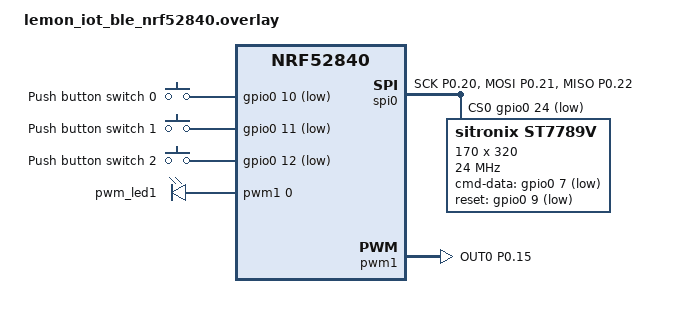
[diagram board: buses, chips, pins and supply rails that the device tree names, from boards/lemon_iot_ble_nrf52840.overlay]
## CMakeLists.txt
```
# SPDX-License-Identifier: Apache-2.0

cmake_minimum_required(VERSION 3.20.0)

find_package(Zephyr REQUIRED HINTS $ENV{ZEPHYR_BASE})
project(LVGL_Lemon_IoT)

FILE(GLOB app_sources src/*.c)
target_sources(app PRIVATE ${app_sources})
```

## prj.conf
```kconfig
# System config
CONFIG_LOG=y
CONFIG_PRINTK=y
CONFIG_PWM=y
CONFIG_PWM_LOG_LEVEL_DBG=n
CONFIG_BOOTLOADER_MCUBOOT=y
CONFIG_MAIN_STACK_SIZE=2048

# Hardware config
CONFIG_GPIO=y
CONFIG_SPI=y
CONFIG_SPI_NRFX=y
CONFIG_SPI_NRFX_RAM_BUFFER_SIZE=32

# Display config
CONFIG_ST7789V=y
CONFIG_ST7789V_RGB565=y
CONFIG_DISPLAY=y
CONFIG_DISPLAY_LOG_LEVEL_ERR=y

# LVGL config
CONFIG_LVGL=y
CONFIG_LV_Z_MEM_POOL_NUMBER_BLOCKS=8
CONFIG_LV_MEM_CUSTOM=y
CONFIG_LV_USE_LOG=y
CONFIG_LV_USE_LABEL=y
CONFIG_LV_USE_BTN=y
CONFIG_LV_USE_IMG=y
CONFIG_LV_FONT_MONTSERRAT_14=y
```

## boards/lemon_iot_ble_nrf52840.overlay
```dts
// To get started, press Ctrl+Space to bring up the completion menu and view the available nodes.

// You can also use the buttons in the sidebar to perform actions on nodes.
// Actions currently available include:

// * Enabling / disabling the node
// * Adding the bus to a bus
// * Removing the node
// * Connecting ADC channels

// For more help, browse the DeviceTree documentation at https://docs.zephyrproject.org/latest/guides/dts/index.html
// You can also visit the nRF DeviceTree extension documentation at https://nrfconnect.github.io/vscode-nrf-connect/devicetree/nrfdevicetree.html

/ {
	chosen {
		zephyr,display = &st7789v;
	};

    buttons {
        compatible = "gpio-keys";
        lcd_button0: button_0 {
            gpios = <&gpio0 10 (GPIO_PULL_UP | GPIO_ACTIVE_LOW)>;
            label = "Push button switch 0";
        };
        lcd_button1: button_1 {
            gpios = <&gpio0 11 (GPIO_PULL_UP | GPIO_ACTIVE_LOW)>;
            label = "Push button switch 1";
        };
        lcd_button2: button_2 {
            gpios = <&gpio0 12 (GPIO_PULL_UP | GPIO_ACTIVE_LOW)>;
            label = "Push button switch 2";
        };        
    };

	pwmleds {
		compatible = "pwm-leds";
		pwm_led1: pwm_led_1 {
			pwms = <&pwm1 0 PWM_MSEC(20) PWM_POLARITY_NORMAL>;
		};
	};

    aliases {
		sw0 = &lcd_button0;
		sw1 = &lcd_button1;
		sw2 = &lcd_button2;
		pwm-led1 = &pwm_led1;
	};
};

&spi0 {
	compatible = "nordic,nrf-spim";
	status = "okay";
	cs-gpios = <&gpio0 24 GPIO_ACTIVE_LOW>;  /* D6 SD */

	pinctrl-0 = <&spi0_default>;
	pinctrl-1 = <&spi0_sleep>;
	pinctrl-names = "default", "sleep";


    st7789v: st7789v@0 {
		compatible = "sitronix,st7789v";
		label = "ST7789V";
		spi-max-frequency = <24000000>;
		reg = <0>;
		cmd-data-gpios = <&gpio0 7 GPIO_ACTIVE_LOW>;	/* D9 */
		reset-gpios = <&gpio0 9 GPIO_ACTIVE_LOW>;	/* D10 */
		width = <170>; // 170 for 90 degree, 320 for 0 degree
		height = <320>; // 320 for 90 degree, 170 for 0 degree
		x-offset = <35>; // 35 for 90 degree, 0 for 0 degree
		y-offset = <0>; // 0 for 90 degree, 35 for 0 degree
		vcom = <0x2b>;
		gctrl = <0x35>;
		vrhs = <0x0f>;
		vdvs = <0x20>;
		mdac = <0xC0>; // 0x00 for 90 degree, 0x60 for 0 degree
		gamma = <0x01>;
		colmod = <0x55>;
		lcm = <0x2c>;
		porch-param = [0c 0c 00 33 33];
		cmd2en-param = [5a 69 02 01];
		pwctrl1-param = [52 a1];
		pvgam-param = [D0 00 02 07 0B 1A 31 54 40 29 12 12 12 17];
		nvgam-param = [D0 00 02 07 05 15 2D 44 44 1C 18 16 1C 1D];
		ram-param = [00 F8];
		rgb-param = [CD 08 14];
	};
};

&pwm1 {
	status = "okay";
	pinctrl-0 = <&pwm1_default>;
	pinctrl-1 = <&pwm1_sleep>;
	pinctrl-names = "default", "sleep";
};

&pinctrl {   

	pwm1_default: pwm1_default {
		group1 {
			psels = <NRF_PSEL(PWM_OUT0, 0, 15)>;
		};
	};

	pwm1_sleep: pwm1_sleep {
		group1 {
			psels = <NRF_PSEL(PWM_OUT0, 0, 15)>;
		};
	};

	spi0_default: spi0_default {
		group1 {
			psels = <NRF_PSEL(SPIM_SCK, 0, 20)>,
				<NRF_PSEL(SPIM_MOSI, 0, 21)>,
				<NRF_PSEL(SPIM_MISO, 0, 22)>;
		};
	};

	spi0_sleep: spi0_sleep {
		group1 {
			psels = <NRF_PSEL(SPIM_SCK, 0, 20)>,
				<NRF_PSEL(SPIM_MOSI, 0, 21)>,
				<NRF_PSEL(SPIM_MISO, 0, 22)>;
			low-power-enable;
		};
	};
};
```

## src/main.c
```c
/*
 * Copyright (c) 2023 Tai Jie Denny Yun <denny61302@gmail.com>
 * Copyright (c) 2023 Aaron Mohtar & Co Pty Ltd
 * Copyright (c) 2023 Craig Peacock
 * Copyright (c) 2018 Jan Van Winkel <jan.van_winkel@dxplore.eu>
 *
 * SPDX-License-Identifier: Apache-2.0
 */

#include <zephyr/device.h>
#include <zephyr/devicetree.h>
#include <zephyr/drivers/display.h>
#include <zephyr/drivers/gpio.h>
#include <zephyr/drivers/pwm.h>
#include <lvgl.h>
#include <stdio.h>
#include <string.h>
#include <zephyr/kernel.h>

#define LOG_LEVEL CONFIG_LOG_DEFAULT_LEVEL
#include <zephyr/logging/log.h>
LOG_MODULE_REGISTER(app);

static uint32_t count;

static const int pwm_fequency = 500; // in Hz
static float input_period = (float)(1.0 / pwm_fequency) * 1000000000.0;
static int pwm_duty_cycle = 80; // in percentage

static const struct pwm_dt_spec pwm_lcd_backlight = PWM_DT_SPEC_GET(DT_ALIAS(pwm_led1));

#ifdef CONFIG_GPIO
static struct gpio_dt_spec button_gpio = GPIO_DT_SPEC_GET_OR(
		DT_ALIAS(sw1), gpios, {0});
static struct gpio_callback button_callback;

static void button_isr_callback(const struct device *port,
				struct gpio_callback *cb,
				uint32_t pins)
{
	ARG_UNUSED(port);
	ARG_UNUSED(cb);
	ARG_UNUSED(pins);

	count = 0;
}
#endif

void main(void)
{
	int err;
	char count_str[11] = {0};
	const struct device *display_dev;
	lv_obj_t *hello_world_label;
	lv_obj_t *count_label;

	if (!device_is_ready(pwm_lcd_backlight.dev)) {
		printk("Error: PWM device %s is not ready\n", pwm_lcd_backlight.dev->name);
		return;
	}	
	
    pwm_set_dt(&pwm_lcd_backlight, input_period, input_period*pwm_duty_cycle/100); 

	display_dev = DEVICE_DT_GET(DT_CHOSEN(zephyr_display));
	if (!device_is_ready(display_dev)) {
		LOG_ERR("Device not ready, aborting test");
		return;
	}

	if (device_is_ready(button_gpio.port)) {
		err = gpio_pin_configure_dt(&button_gpio, GPIO_INPUT);
		if (err) {
			LOG_ERR("failed to configure button gpio: %d", err);
			return;
		}

		gpio_init_callback(&button_callback, button_isr_callback,
				   BIT(button_gpio.pin));

		err = gpio_add_callback(button_gpio.port, &button_callback);
		if (err) {
			LOG_ERR("failed to add button callback: %d", err);
			return;
		}

		err = gpio_pin_interrupt_configure_dt(&button_gpio,
						      GPIO_INT_EDGE_TO_ACTIVE);
		if (err) {
			LOG_ERR("failed to enable button callback: %d", err);
			return;
		}
	}

	lv_disp_t * dispp = lv_disp_get_default();
    lv_theme_t * theme = lv_theme_default_init(dispp, lv_palette_main(LV_PALETTE_BLUE), lv_palette_main(LV_PALETTE_RED),
                                               true, LV_FONT_DEFAULT);
    lv_disp_set_theme(dispp, theme);
	
	hello_world_label = lv_label_create(lv_scr_act());
	
	lv_label_set_text(hello_world_label, "Hello world!\nWelcome to Lemon IoT");
	lv_obj_align(hello_world_label, LV_ALIGN_CENTER, 0, 0);

	count_label = lv_label_create(lv_scr_act());
	lv_obj_align(count_label, LV_ALIGN_BOTTOM_MID, 0, 0);

	lv_task_handler();
	display_blanking_off(display_dev);

	while (1) {
		if ((count % 100) == 0U) {
			sprintf(count_str, "%d", count/100U);
			lv_label_set_text(count_label, count_str);
		}
		lv_task_handler();
		++count;
		k_sleep(K_MSEC(10));
	}
}
```
